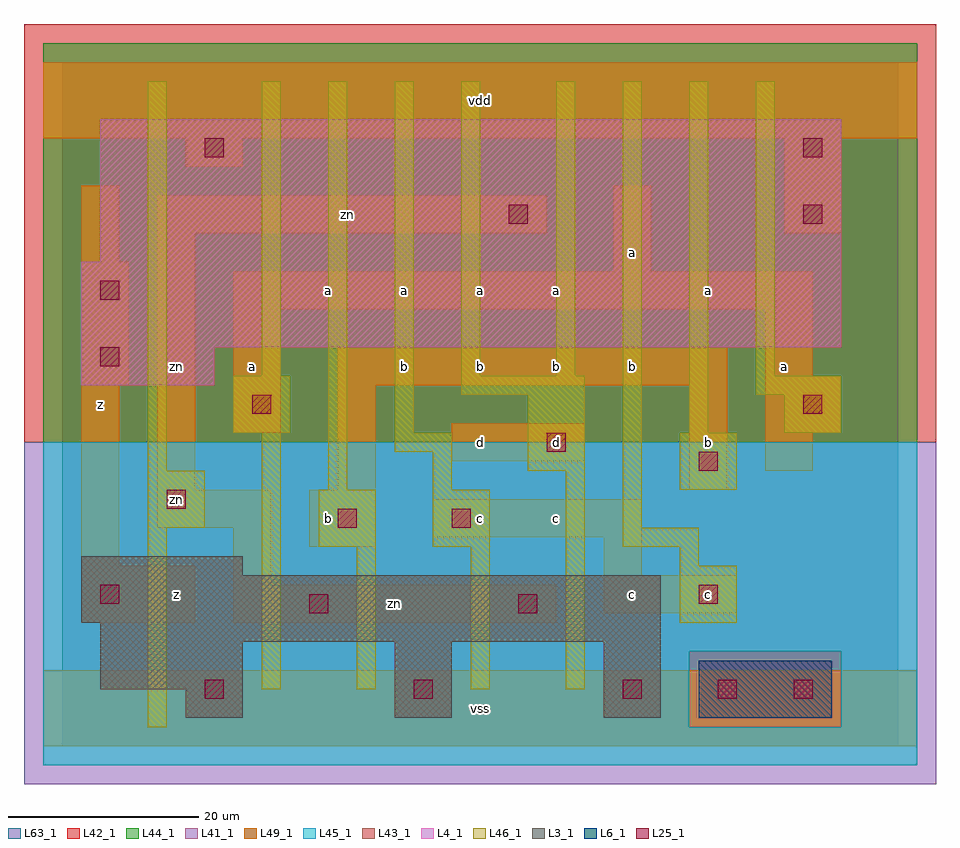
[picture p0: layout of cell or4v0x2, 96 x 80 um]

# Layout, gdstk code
import gdstk
lib = gdstk.Library(unit=1e-6, precision=1e-09)
def R(c, l, rs):  # rectangles x0, y0, x1, y1
    for r in rs: c.add(gdstk.rectangle(r[:2], r[2:], *l))
def A(c, l, x, y, w, h, nx, ny, dx, dy):  # array of equal rectangles
    R(c, l, [(x+i*dx, y+j*dy, x+i*dx+w, y+j*dy+h) for i in range(nx) for j in range(ny)])
L3_1 = (3, 1)
L4_1 = (4, 1)
L6_1 = (6, 1)
L25_1 = (25, 1)
L41_1 = (41, 1)
L42_1 = (42, 1)
L43_1 = (43, 1)
L44_1 = (44, 1)
L45_1 = (45, 1)
L46_1 = (46, 1)
L49_1 = (49, 1)
L63_1 = (63, 1)

or4v0x2 = lib.new_cell('or4v0x2')
R(or4v0x2, L3_1, [(13,3,19,6), (35,3,41,11), (57,3,63,11), (4,6,19,11), (4,11,63,13), (2,13,63,18), (2,18,19,20)])
R(or4v0x2, L4_1, [(2,38,16,42), (2,42,82,51), (4,51,82,66)])
R(or4v0x2, L6_1, [(67,3,81,9), (67,3,81,9)])
A(or4v0x2, L25_1, 15, 5, 2, 2, 3, 1, 22, 0)
R(or4v0x2, L25_1, [(69,5,71,7), (77,5,79,7), (26,14,28,16), (48,14,50,16), (4,15,6,17), (67,15,69,17), (29,23,31,25), (41,23,43,25), (11,25,13,27), (67,29,69,31), (51,31,53,33), (20,35,22,37), (78,35,80,37), (4,40,6,42), (4,47,6,49), (47,55,49,57), (78,55,80,57), (15,62,17,64), (78,62,80,64)])
R(or4v0x2, L41_1, [(-4,-4,92,32)])
R(or4v0x2, L42_1, [(-4,32,92,76)])
R(or4v0x2, L43_1, [(13,3,19,6), (35,3,41,11), (57,3,63,11), (67,3,81,9), (4,6,19,11), (4,11,63,13), (2,13,63,18), (2,18,19,20), (2,38,16,42), (2,42,82,51), (4,51,82,66)])
R(or4v0x2, L44_1, [(66,2,82,10), (-2,32,90,74)])
R(or4v0x2, L45_1, [(-2,-2,90,2), (-2,2,66,10), (82,2,90,10), (-2,10,90,32)])
R(or4v0x2, L46_1, [(9,2,11,23), (21,6,23,33), (31,6,33,21), (43,6,45,21), (53,6,55,29), (65,13,71,19), (65,19,67,21), (27,21,33,27), (39,21,45,27), (59,21,67,23), (9,23,15,29), (59,23,61,70), (28,27,30,70), (39,27,41,31), (65,27,71,33), (9,29,11,70), (49,29,55,37), (35,31,41,33), (18,33,24,39), (35,33,37,70), (66,33,68,70), (76,33,82,37), (42,37,55,39), (73,37,82,39), (21,39,23,70), (42,39,44,70), (52,39,54,70), (73,39,75,70)])
R(or4v0x2, L49_1, [(-2,0,90,8), (2,13,14,19), (18,13,52,17), (57,14,71,18), (18,17,22,23), (57,18,61,22), (2,19,6,38), (26,21,33,27), (39,22,61,26), (10,23,22,27), (10,27,14,54), (29,27,33,38), (66,27,70,38), (74,29,79,33), (41,30,55,34), (18,33,23,46), (74,33,82,39), (2,38,7,51), (29,38,70,42), (74,39,79,46), (18,46,79,50), (58,50,62,59), (2,51,6,59), (10,54,51,58), (76,54,82,64), (13,61,19,64), (-2,64,90,72)])
R(or4v0x2, L63_1, [(0,0,88,72)])
or4v0x2.add(gdstk.Label('zn', (12,26), layer=49, texttype=1))
or4v0x2.add(gdstk.Label('z', (12,16), layer=49, texttype=1))
or4v0x2.add(gdstk.Label('z', (4,36), layer=49, texttype=1))
or4v0x2.add(gdstk.Label('zn', (12,40), layer=49, texttype=1))
or4v0x2.add(gdstk.Label('b', (28,24), layer=49, texttype=1))
or4v0x2.add(gdstk.Label('a', (20,40), layer=49, texttype=1))
or4v0x2.add(gdstk.Label('a', (28,48), layer=49, texttype=1))
or4v0x2.add(gdstk.Label('vss', (44,4), layer=49, texttype=1))
or4v0x2.add(gdstk.Label('zn', (35,15), layer=49, texttype=1))
or4v0x2.add(gdstk.Label('c', (44,24), layer=49, texttype=1))
or4v0x2.add(gdstk.Label('d', (44,32), layer=49, texttype=1))
or4v0x2.add(gdstk.Label('b', (36,40), layer=49, texttype=1))
or4v0x2.add(gdstk.Label('b', (44,40), layer=49, texttype=1))
or4v0x2.add(gdstk.Label('a', (36,48), layer=49, texttype=1))
or4v0x2.add(gdstk.Label('a', (44,48), layer=49, texttype=1))
or4v0x2.add(gdstk.Label('zn', (30,56), layer=49, texttype=1))
or4v0x2.add(gdstk.Label('vdd', (44,68), layer=49, texttype=1))
or4v0x2.add(gdstk.Label('c', (60,16), layer=49, texttype=1))
or4v0x2.add(gdstk.Label('c', (68,16), layer=49, texttype=1))
or4v0x2.add(gdstk.Label('c', (52,24), layer=49, texttype=1))
or4v0x2.add(gdstk.Label('b', (68,32), layer=49, texttype=1))
or4v0x2.add(gdstk.Label('d', (52,32), layer=49, texttype=1))
or4v0x2.add(gdstk.Label('b', (52,40), layer=49, texttype=1))
or4v0x2.add(gdstk.Label('b', (60,40), layer=49, texttype=1))
or4v0x2.add(gdstk.Label('a', (52,48), layer=49, texttype=1))
or4v0x2.add(gdstk.Label('a', (60,52), layer=49, texttype=1))
or4v0x2.add(gdstk.Label('a', (68,48), layer=49, texttype=1))
or4v0x2.add(gdstk.Label('a', (76,40), layer=49, texttype=1))

lib.write_gds('or4v0x2.gds')
